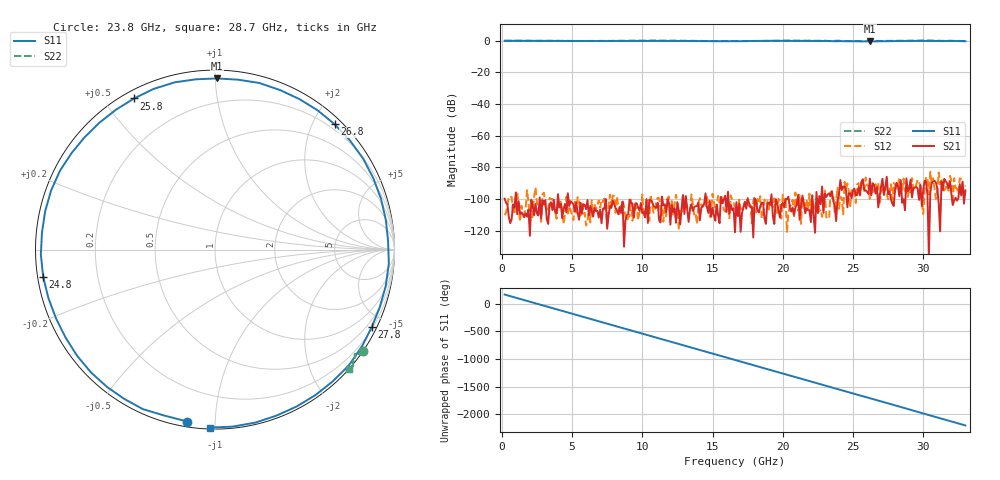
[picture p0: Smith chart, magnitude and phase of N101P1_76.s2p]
# GHZ S RI R 50
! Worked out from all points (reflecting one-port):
!   329 points, 200 MHz to 33 GHz, reference 50 ohm
!   lowest |S11| = -0.4 dB at 26.2 GHz (marker M1), VSWR 42.21, Z = 2.39 + j50.5 ohm
!   phase of S11 starts at 165 deg and turns -2369 deg over the sweep
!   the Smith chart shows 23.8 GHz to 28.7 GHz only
!   S11 on the Smith chart (normalised r, x): 23.8 GHz: 0.03, -0.85; 24.8 GHz: 0.02, -0.08; 25.8 GHz: 0.03, +0.60; 26.8 GHz: 0.11, +2.33; 27.8 GHz: 0.26, -4.29; 28.7 GHz: 0.01, -0.97
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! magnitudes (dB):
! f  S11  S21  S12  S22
! 200 MHz  0.0  -99.7  -110.1  0.0
! 5.7 GHz  -0.1  -109.2  -101.6  -0.1
! 11.2 GHz  -0.1  -113.5  -99.7  0.1
! 12 GHz  0.0  -116.2  -108.6  0.1
! 15 GHz  -0.3  -105.5  -96.7  -0.2
! 16.6 GHz  -0.3  -121.0  -105.1  -0.2
! 19.6 GHz  0.0  -102.3  -108.7  0.0
! 22.1 GHz  -0.1  -98.1  -97.5  0.0
! 23 GHz  -0.1  -96.6  -94.6  0.0
! 23.4 GHz  -0.2  -98.2  -95.5  -0.2
! 23.8 GHz  -0.3  -113.9  -100.9  0.0
! 24.8 GHz  -0.3  -96.4  -105.5  -0.2
! 25.8 GHz  -0.4  -94.2  -95.9  -0.2
! 26.2 GHz  -0.4  -87.1  -100.0  -0.2
! 26.8 GHz  -0.3  -105.3  -89.9  -0.1
! 27.6 GHz  -0.2  -95.1  -94.9  0.0
! 27.8 GHz  -0.2  -102.7  -103.3  0.0
! 28.7 GHz  -0.1  -107.1  -95.0  0.0
! 30.3 GHz  0.0  -97.2  -86.8  0.2
! 31.4 GHz  -0.2  -94.2  -94.6  -0.1
! 32 GHz  0.0  -96.4  -88.2  0.0
! 33 GHz  -0.3  -94.6  -91.4  -0.1
